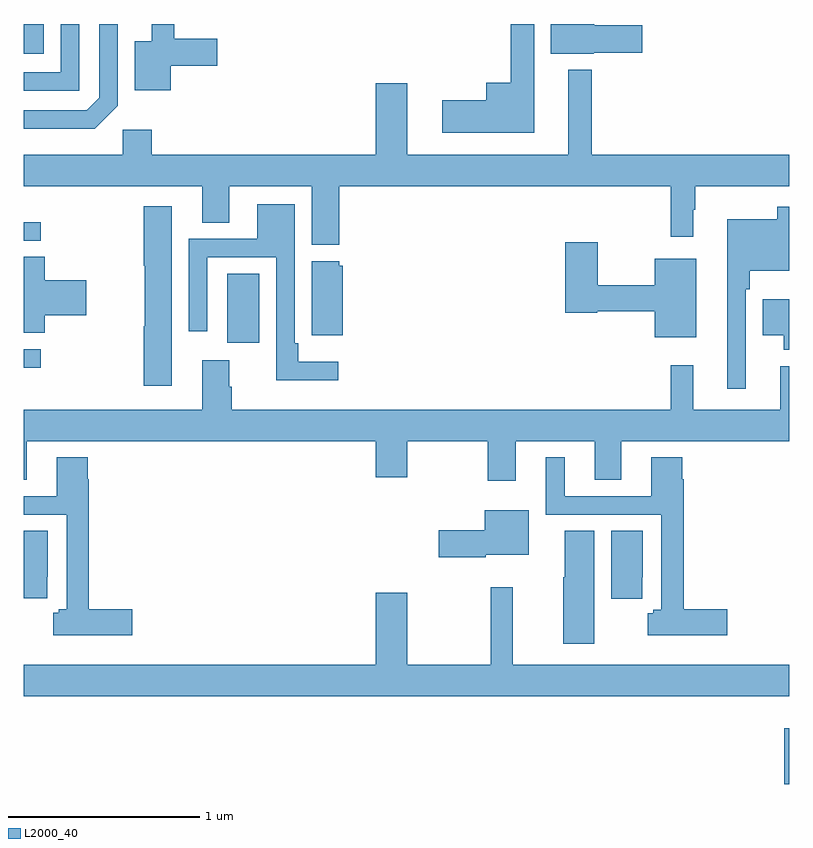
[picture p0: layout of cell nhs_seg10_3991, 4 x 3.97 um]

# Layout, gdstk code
import gdstk
lib = gdstk.Library(unit=1e-6, precision=1e-09)
def R(c, l, rs):  # rectangles x0, y0, x1, y1
    for r in rs: c.add(gdstk.rectangle(r[:2], r[2:], *l))
def P(c, l, *ps):  # polygons
    for p in ps: c.add(gdstk.Polygon(p, *l))
L2000_40 = (2000, 40)

nhs_seg10_3991 = lib.new_cell('nhs_seg10_3991')
R(nhs_seg10_3991, L2000_40, [(334.973,1294.529,335,1294.819), (331,1296.703,331.09,1296.801), (332.063,1296.834,332.23,1297.196), (331,1297.368,331.09,1297.464), (331,1298.345,331.105,1298.5)])
P(nhs_seg10_3991, L2000_40, [(331.491,1298.073),(331.491,1298.5),(331.395,1298.5),(331.395,1298.115),(331.329,1298.049),(331,1298.049),(331,1297.952),(331.37,1297.952)],
  [(333.667,1298.5),(333.546,1298.5),(333.546,1298.194),(333.416,1298.194),(333.416,1298.102),(333.186,1298.102),(333.186,1297.931),(333.667,1297.931)],
  [(331.768,1298.281),(332.011,1298.281),(332.011,1298.423),(331.787,1298.423),(331.787,1298.5),(331.67,1298.5),(331.67,1298.41),(331.58,1298.41),(331.58,1298.153),(331.768,1298.153)],
  [(333.978,1298.351),(334.231,1298.351),(334.231,1298.493),(333.982,1298.493),(333.982,1298.5),(333.755,1298.5),(333.755,1298.345),(333.978,1298.345)],
  [(331.29,1298.5),(331.194,1298.5),(331.194,1298.247),(331,1298.247),(331,1298.151),(331.29,1298.151)],
  [(332.648,1297.652),(334.381,1297.652),(334.381,1297.389),(334.498,1297.389),(334.498,1297.529),(334.51,1297.529),(334.51,1297.652),(335,1297.652),(335,1297.816),(333.967,1297.816),(333.967,1298.26),(333.845,1298.26),(333.845,1297.816),(333.004,1297.816),(333.004,1298.191),(332.84,1298.191),(332.84,1297.816),(331.67,1297.816),(331.67,1297.948),(331.518,1297.948),(331.518,1297.816),(331,1297.816),(331,1297.652),(331.934,1297.652),(331.934,1297.462),(332.074,1297.462),(332.074,1297.652),(332.504,1297.652),(332.504,1297.346),(332.648,1297.346)],
  [(332.644,1296.736),(332.435,1296.736),(332.435,1296.832),(332.415,1296.832),(332.415,1297.558),(332.219,1297.558),(332.219,1297.377),(331.863,1297.377),(331.863,1296.894),(331.959,1296.894),(331.959,1297.281),(332.319,1297.281),(332.319,1296.638),(332.644,1296.638)],
  [(331.774,1297.549),(331.628,1297.549),(331.628,1297.236),(331.633,1297.236),(331.633,1296.921),(331.628,1296.921),(331.628,1296.609),(331.774,1296.609)],
  [(334.773,1297.115),(334.793,1297.115),(334.793,1297.211),(335,1297.211),(335,1297.546),(334.938,1297.546),(334.938,1297.48),(334.676,1297.48),(334.676,1296.594),(334.773,1296.594)],
  [(334.513,1297.273),(334.298,1297.273),(334.298,1297.136),(334,1297.136),(334,1297.36),(333.83,1297.36),(333.83,1296.992),(333.996,1296.992),(333.996,1297),(334.298,1297),(334.298,1296.863),(334.513,1296.863)],
  [(331.109,1296.977),(331.327,1296.977),(331.327,1297.16),(331.109,1297.16),(331.109,1297.283),(331,1297.283),(331,1296.886),(331.109,1296.886)],
  [(332.668,1297.236),(332.649,1297.236),(332.649,1297.261),(332.504,1297.261),(332.504,1296.875),(332.668,1296.875)],
  [(335,1297.063),(334.862,1297.063),(334.862,1296.875),(334.97,1296.875),(334.97,1296.797),(335,1296.797)],
  [(333.571,1296.32),(333.983,1296.32),(333.983,1296.118),(334.123,1296.118),(334.123,1296.32),(335,1296.32),(335,1296.712),(334.952,1296.712),(334.952,1296.484),(334.499,1296.484),(334.499,1296.718),(334.381,1296.718),(334.381,1296.484),(332.087,1296.484),(332.087,1296.605),(332.074,1296.605),(332.074,1296.742),(331.934,1296.742),(331.934,1296.484),(331,1296.484),(331,1296.118),(331.015,1296.118),(331.015,1296.32),(332.84,1296.32),(332.84,1296.132),(333.004,1296.132),(333.004,1296.32),(333.424,1296.32),(333.424,1296.114),(333.571,1296.114)],
  [(334.675,1295.441),(334.448,1295.441),(334.448,1296.122),(334.442,1296.122),(334.442,1296.235),(334.28,1296.235),(334.28,1296.033),(333.826,1296.033),(333.826,1296.235),(333.728,1296.235),(333.728,1295.937),(334.332,1295.937),(334.332,1295.44),(334.29,1295.44),(334.29,1295.42),(334.261,1295.42),(334.261,1295.306),(334.675,1295.306)],
  [(331.567,1295.441),(331.34,1295.441),(331.34,1296.122),(331.334,1296.122),(331.334,1296.235),(331.172,1296.235),(331.172,1296.033),(331,1296.033),(331,1295.937),(331.224,1295.937),(331.224,1295.442),(331.182,1295.442),(331.182,1295.423),(331.153,1295.423),(331.153,1295.306),(331.567,1295.306)],
  [(333.414,1295.726),(333.64,1295.726),(333.64,1295.959),(333.41,1295.959),(333.41,1295.856),(333.168,1295.856),(333.168,1295.714),(333.414,1295.714)],
  [(334.231,1295.608),(334.234,1295.608),(334.234,1295.852),(334.07,1295.852),(334.07,1295.496),(334.231,1295.496)],
  [(333.982,1295.852),(333.827,1295.852),(333.827,1295.61),(333.818,1295.61),(333.818,1295.262),(333.982,1295.262)],
  [(331.124,1295.611),(331.126,1295.611),(331.126,1295.852),(331,1295.852),(331,1295.499),(331.124,1295.499)],
  [(335,1295.152),(333.554,1295.152),(333.554,1295.557),(333.441,1295.557),(333.441,1295.152),(333.004,1295.152),(333.004,1295.527),(332.84,1295.527),(332.84,1295.152),(331,1295.152),(331,1294.988),(335,1294.988)])

lib.write_gds('nhs_seg10_3991.gds')
